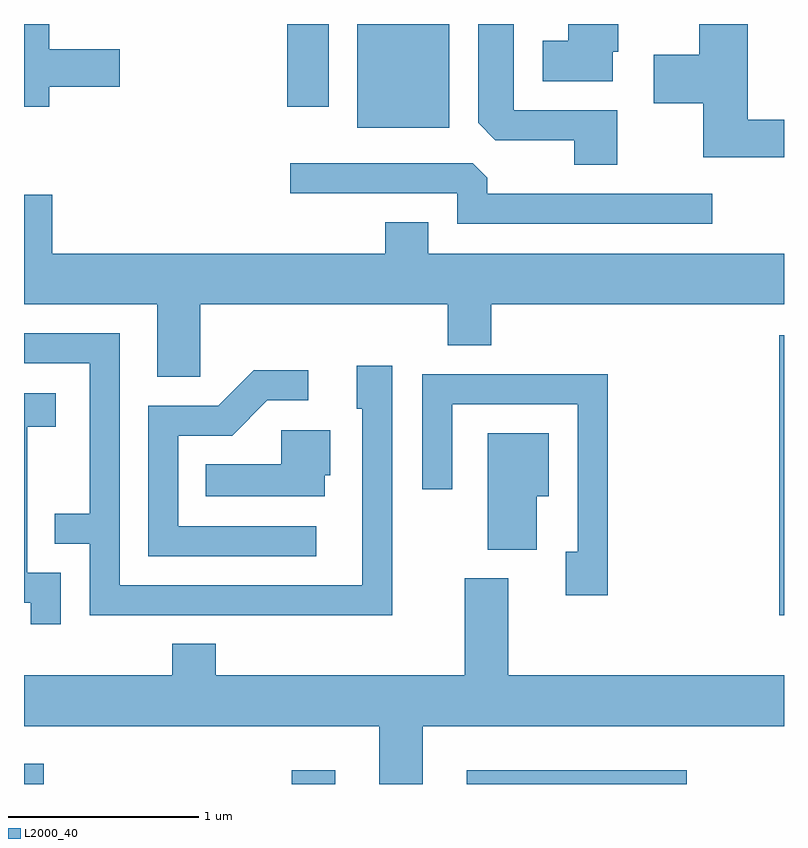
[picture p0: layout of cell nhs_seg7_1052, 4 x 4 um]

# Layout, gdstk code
import gdstk
lib = gdstk.Library(unit=1e-6, precision=1e-09)
def R(c, l, rs):  # rectangles x0, y0, x1, y1
    for r in rs: c.add(gdstk.rectangle(r[:2], r[2:], *l))
def P(c, l, *ps):  # polygons
    for p in ps: c.add(gdstk.Polygon(p, *l))
L2000_40 = (2000, 40)

nhs_seg7_1052 = lib.new_cell('nhs_seg7_1052')
R(nhs_seg7_1052, L2000_40, [(217.611,1696.252,217.714,1696.359), (219.021,1696.252,219.249,1696.324), (219.941,1696.252,221.098,1696.324), (221.586,1697.141,221.611,1698.614), (219.366,1699.706,219.849,1700.252), (218.996,1699.816,219.214,1700.252)])
P(nhs_seg7_1052, L2000_40, [(220.734,1699.799),(220.189,1699.799),(220.189,1700.252),(220.001,1700.252),(220.001,1699.732),(220.092,1699.641),(220.506,1699.641),(220.506,1699.511),(220.734,1699.511)],
  [(220.709,1700.106),(220.739,1700.106),(220.739,1700.252),(220.476,1700.252),(220.476,1700.164),(220.341,1700.164),(220.341,1699.951),(220.709,1699.951)],
  [(221.611,1699.749),(221.419,1699.749),(221.419,1700.252),(221.166,1700.252),(221.166,1700.089),(220.926,1700.089),(220.926,1699.836),(221.186,1699.836),(221.186,1699.551),(221.611,1699.551)],
  [(217.744,1699.921),(218.114,1699.921),(218.114,1700.119),(217.744,1700.119),(217.744,1700.252),(217.611,1700.252),(217.611,1699.816),(217.744,1699.816)],
  [(221.233,1699.359),(220.049,1699.359),(220.049,1699.444),(219.974,1699.519),(219.013,1699.519),(219.013,1699.361),(219.891,1699.361),(219.891,1699.201),(221.233,1699.201)],
  [(218.539,1698.776),(219.841,1698.776),(219.841,1698.561),(220.069,1698.561),(220.069,1698.776),(221.611,1698.776),(221.611,1699.044),(219.739,1699.044),(219.739,1699.209),(219.511,1699.209),(219.511,1699.044),(217.759,1699.044),(217.759,1699.354),(217.611,1699.354),(217.611,1698.776),(218.311,1698.776),(218.311,1698.396),(218.539,1698.396)],
  [(219.549,1698.454),(219.361,1698.454),(219.361,1698.226),(219.391,1698.226),(219.391,1697.299),(218.114,1697.299),(218.114,1698.624),(217.611,1698.624),(217.611,1698.466),(217.956,1698.466),(217.956,1697.674),(217.773,1697.674),(217.773,1697.516),(217.956,1697.516),(217.956,1697.141),(219.549,1697.141)],
  [(219.148,1697.609),(218.424,1697.609),(218.424,1698.086),(218.707,1698.086),(218.892,1698.271),(219.108,1698.271),(219.108,1698.429),(218.819,1698.429),(218.634,1698.244),(218.266,1698.244),(218.266,1697.451),(219.148,1697.451)],
  [(220.684,1698.409),(219.706,1698.409),(219.706,1697.803),(219.864,1697.803),(219.864,1698.251),(220.526,1698.251),(220.526,1697.474),(220.461,1697.474),(220.461,1697.246),(220.684,1697.246)],
  [(217.804,1697.364),(217.629,1697.364),(217.629,1698.131),(217.779,1698.131),(217.779,1698.309),(217.611,1698.309),(217.611,1697.206),(217.646,1697.206),(217.646,1697.093),(217.804,1697.093)],
  [(219.194,1697.876),(219.224,1697.876),(219.224,1698.114),(218.966,1698.114),(218.966,1697.934),(218.568,1697.934),(218.568,1697.766),(219.194,1697.766)],
  [(220.309,1697.766),(220.374,1697.766),(220.374,1698.099),(220.051,1698.099),(220.051,1697.486),(220.309,1697.486)],
  [(219.709,1696.556),(221.611,1696.556),(221.611,1696.824),(220.159,1696.824),(220.159,1697.334),(219.931,1697.334),(219.931,1696.824),(218.619,1696.824),(218.619,1696.989),(218.391,1696.989),(218.391,1696.824),(217.611,1696.824),(217.611,1696.556),(219.481,1696.556),(219.481,1696.252),(219.709,1696.252)])

lib.write_gds('nhs_seg7_1052.gds')
